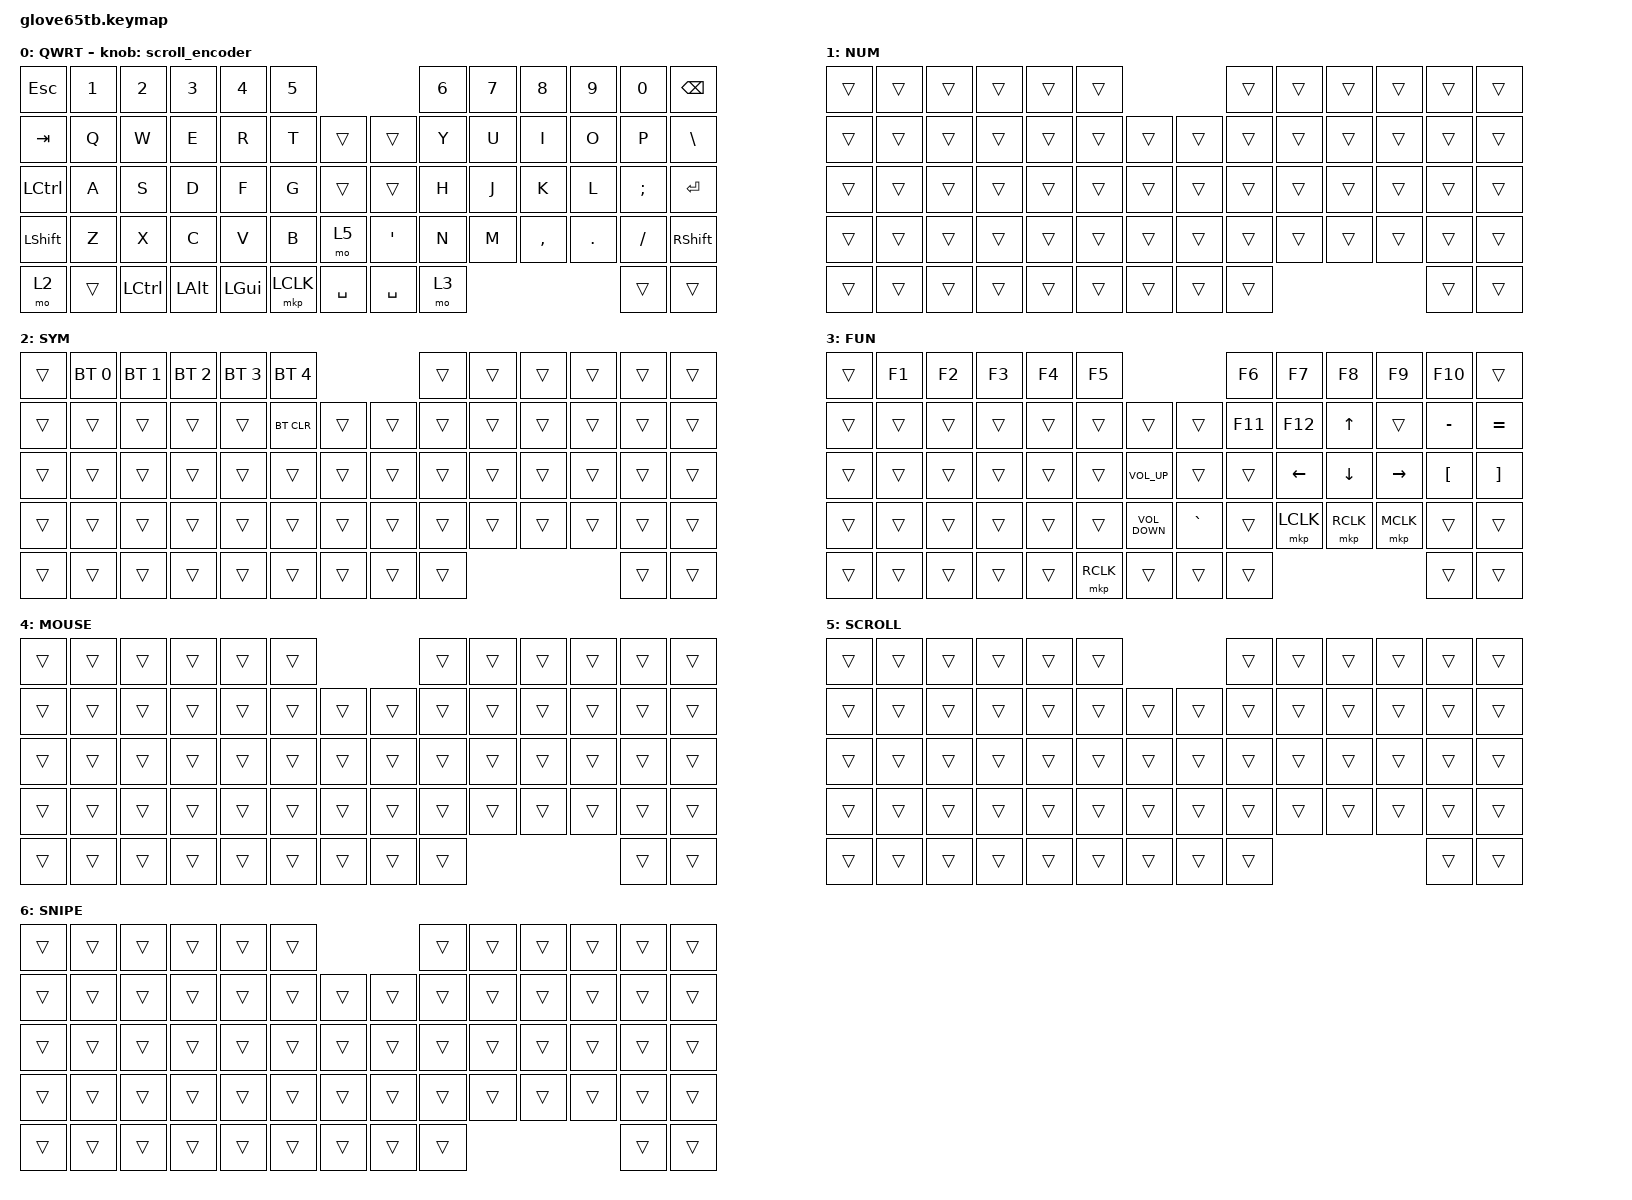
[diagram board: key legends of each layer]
#define DEFAULT 0
#define SYM     1
#define FUN     2
#define MOUSE   3
#define SCROLL  4
#define SNIPE   5

#include <behaviors/mouse_keys.dtsi>
#include <dt-bindings/zmk/mouse.h>
#include <behaviors.dtsi>
#include <dt-bindings/zmk/bt.h>
#include <dt-bindings/zmk/keys.h>
#include <dt-bindings/zmk/pointing.h>

&lt {
    tapping-term-ms = <240>;
    flavor = "balanced";
    quick-tap-ms = <150>;
};

&mt {
    tapping-term-ms = <200>;
    flavor = "tap-preferred";
    quick-tap-ms = <150>;
};

/ {
    combos {
        compatible = "zmk,combos";

        scroll {
            bindings = <&mo 5>;
            key-positions = <49 50>;
        };
    };

    scroll_encoder: scroll_encoder {
        compatible = "zmk,behavior-sensor-rotate";
        #sensor-binding-cells = <0>;
        bindings = <&msc SCRL_DOWN>, <&msc SCRL_UP>;

        tap-ms = <30>;
    };

    behaviors {
    };

    keymap {
        compatible = "zmk,keymap";

        default_layer {
            label = "QWRT";
            bindings = <
&kp ESC           &kp N1  &kp N2            &kp N3        &kp N4        &kp N5                                  &kp N6  &kp N7  &kp N8     &kp N9   &kp N0    &kp BSPC
&kp TAB           &kp Q   &kp W             &kp E         &kp R         &kp T      &trans     &trans            &kp Y   &kp U   &kp I      &kp O    &kp P     &kp BACKSLASH
&kp LEFT_CONTROL  &kp A   &kp S             &kp D         &kp F         &kp G      &trans     &trans            &kp H   &kp J   &kp K      &kp L    &kp SEMI  &kp RETURN
&kp LEFT_SHIFT    &kp Z   &kp X             &kp C         &kp V         &kp B      &mo 5      &kp SINGLE_QUOTE  &kp N   &kp M   &kp COMMA  &kp DOT  &kp FSLH  &kp RIGHT_SHIFT
&mo 2             &trans  &kp LEFT_CONTROL  &kp LEFT_ALT  &kp LEFT_GUI  &mkp LCLK  &kp SPACE  &kp SPACE         &mo 3                               &trans    &trans
            >;

            sensor-bindings = <&scroll_encoder>;
        };

        number_layer {
            label = "NUM";
            bindings = <
&trans  &trans  &trans  &trans  &trans  &trans                  &trans  &trans  &trans  &trans  &trans  &trans
&trans  &trans  &trans  &trans  &trans  &trans  &trans  &trans  &trans  &trans  &trans  &trans  &trans  &trans
&trans  &trans  &trans  &trans  &trans  &trans  &trans  &trans  &trans  &trans  &trans  &trans  &trans  &trans
&trans  &trans  &trans  &trans  &trans  &trans  &trans  &trans  &trans  &trans  &trans  &trans  &trans  &trans
&trans  &trans  &trans  &trans  &trans  &trans  &trans  &trans  &trans                          &trans  &trans
            >;
        };

        symbol_layer {
            label = "SYM";
            bindings = <
&trans  &bt BT_SEL 0  &bt BT_SEL 1  &bt BT_SEL 2  &bt BT_SEL 3  &bt BT_SEL 4                  &trans  &trans  &trans  &trans  &trans  &trans
&trans  &trans        &trans        &trans        &trans        &bt BT_CLR    &trans  &trans  &trans  &trans  &trans  &trans  &trans  &trans
&trans  &trans        &trans        &trans        &trans        &trans        &trans  &trans  &trans  &trans  &trans  &trans  &trans  &trans
&trans  &trans        &trans        &trans        &trans        &trans        &trans  &trans  &trans  &trans  &trans  &trans  &trans  &trans
&trans  &trans        &trans        &trans        &trans        &trans        &trans  &trans  &trans                          &trans  &trans
            >;
        };

        function_layer {
            label = "FUN";
            bindings = <
&trans  &kp F1  &kp F2  &kp F3  &kp F4  &kp F5                                   &kp F6   &kp F7          &kp F8          &kp F9           &kp F10           &trans
&trans  &trans  &trans  &trans  &trans  &trans     &trans             &trans     &kp F11  &kp F12         &kp UP_ARROW    &trans           &kp MINUS         &kp EQUAL
&trans  &trans  &trans  &trans  &trans  &trans     &kp C_VOLUME_UP    &trans     &trans   &kp LEFT_ARROW  &kp DOWN_ARROW  &kp RIGHT_ARROW  &kp LEFT_BRACKET  &kp RIGHT_BRACKET
&trans  &trans  &trans  &trans  &trans  &trans     &kp C_VOLUME_DOWN  &kp GRAVE  &trans   &mkp LCLK       &mkp RCLK       &mkp MCLK        &trans            &trans
&trans  &trans  &trans  &trans  &trans  &mkp RCLK  &trans             &trans     &trans                                                    &trans            &trans
            >;
        };

        mouse_layer {
            label = "MOUSE";
            bindings = <
&trans  &trans  &trans  &trans  &trans  &trans                  &trans  &trans  &trans  &trans  &trans  &trans
&trans  &trans  &trans  &trans  &trans  &trans  &trans  &trans  &trans  &trans  &trans  &trans  &trans  &trans
&trans  &trans  &trans  &trans  &trans  &trans  &trans  &trans  &trans  &trans  &trans  &trans  &trans  &trans
&trans  &trans  &trans  &trans  &trans  &trans  &trans  &trans  &trans  &trans  &trans  &trans  &trans  &trans
&trans  &trans  &trans  &trans  &trans  &trans  &trans  &trans  &trans                          &trans  &trans
            >;
        };

        scroll_layer {
            label = "SCROLL";
            bindings = <
&trans  &trans  &trans  &trans  &trans  &trans                  &trans  &trans  &trans  &trans  &trans  &trans
&trans  &trans  &trans  &trans  &trans  &trans  &trans  &trans  &trans  &trans  &trans  &trans  &trans  &trans
&trans  &trans  &trans  &trans  &trans  &trans  &trans  &trans  &trans  &trans  &trans  &trans  &trans  &trans
&trans  &trans  &trans  &trans  &trans  &trans  &trans  &trans  &trans  &trans  &trans  &trans  &trans  &trans
&trans  &trans  &trans  &trans  &trans  &trans  &trans  &trans  &trans                          &trans  &trans
            >;
        };

        snipe_layer {
            label = "SNIPE";
            bindings = <
&trans  &trans  &trans  &trans  &trans  &trans                  &trans  &trans  &trans  &trans  &trans  &trans
&trans  &trans  &trans  &trans  &trans  &trans  &trans  &trans  &trans  &trans  &trans  &trans  &trans  &trans
&trans  &trans  &trans  &trans  &trans  &trans  &trans  &trans  &trans  &trans  &trans  &trans  &trans  &trans
&trans  &trans  &trans  &trans  &trans  &trans  &trans  &trans  &trans  &trans  &trans  &trans  &trans  &trans
&trans  &trans  &trans  &trans  &trans  &trans  &trans  &trans  &trans                          &trans  &trans
            >;
        };
    };
};
